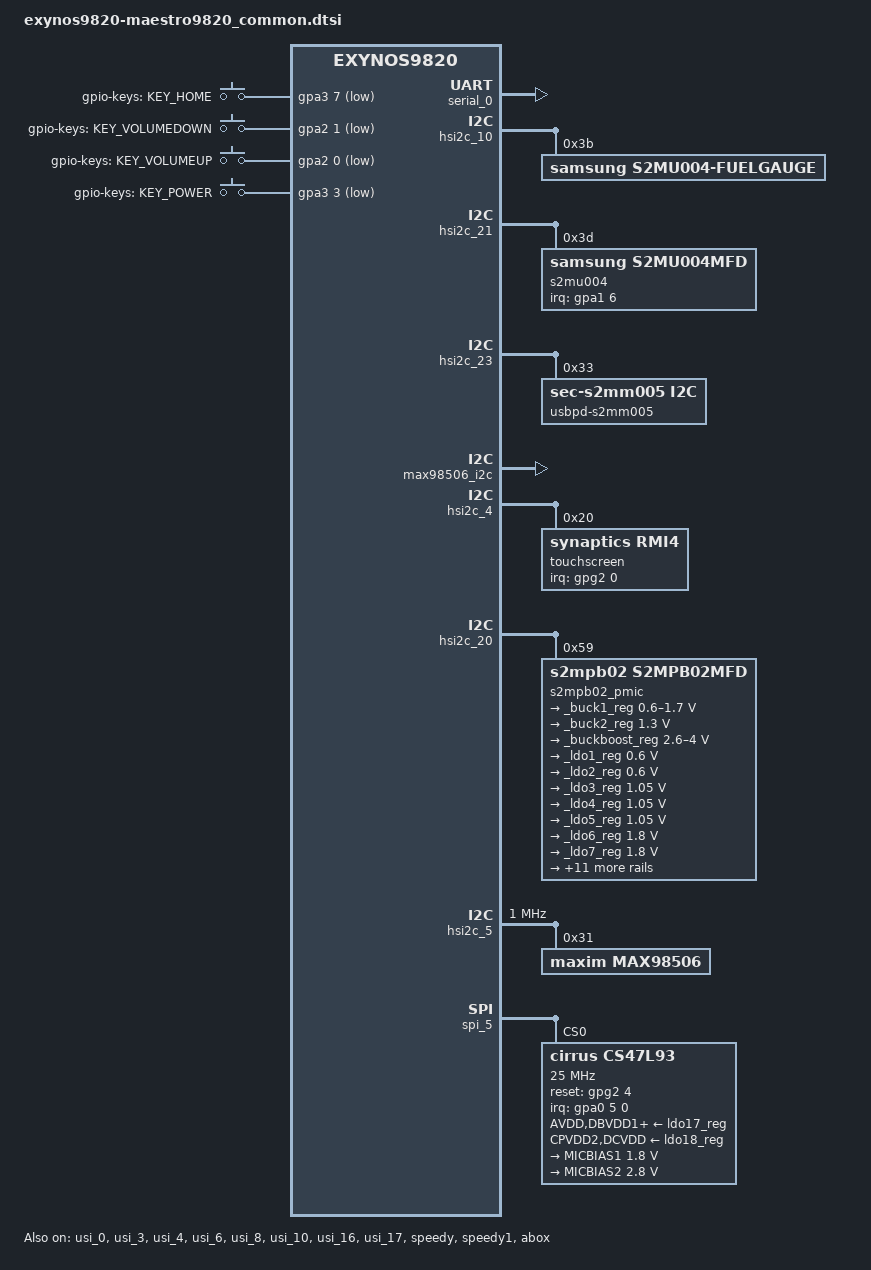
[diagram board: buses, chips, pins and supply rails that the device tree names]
/*
 * SAMSUNG EXYNOS9820 board device tree source
 *
 * Copyright (c) 2018 Samsung Electronics Co., Ltd.
 *		http://www.samsung.com
 *
 * This program is free software; you can redistribute it and/or modify
 * it under the terms of the GNU General Public License version 2 as
 * published by the Free Software Foundation.
*/

#include <dt-bindings/clock/exynos9820.h>
#include "exynos9820_battery_data.dtsi"

/ {
	compatible = "samsung,exynos9820", "samsung,MAESTRO9820";
	board_id = <0xF0>;
	board_rev = <0x0>;

	fragment@model {
		target-path = "/";
		__overlay__ {
			#address-cells = <2>;
			#size-cells = <1>;

			fixed-rate-clocks {
				oscclk {
					compatible = "samsung,exynos9820-oscclk";
					clock-frequency = <26000000>;
				};
			};

			gpio_keys {
				status = "okay";
				compatible = "gpio-keys";
				pinctrl-names = "default";
				pinctrl-0 = <&key_home &key_voldown &key_volup &key_power>;
				button@1 {
					label = "gpio-keys: KEY_HOME";
					linux,code = <172>;
					gpios = <&gpa3 7 0xf>;
					gpio-key,wakeup = <1>;
				};
				button@2 {
					label = "gpio-keys: KEY_VOLUMEDOWN";
					linux,code = <114>;
					gpios = <&gpa2 1 0xf>;
				};
				button@3 {
					label = "gpio-keys: KEY_VOLUMEUP";
					linux,code = <115>;
					gpios = <&gpa2 0 0xf>;
				};
				button@4 {
					label = "gpio-keys: KEY_POWER";
					linux,code = <116>;
					gpios = <&gpa3 3 0xf>;
					gpio-key,wakeup = <1>;
				};
			};

			exynos_rgt {
				compatible = "samsung,exynos-rgt";
			};

			dummy_audio_codec: audio_codec_dummy {
				compatible = "snd-soc-dummy";
				#sound-dai-cells = <0>;
			};

			dummy_audio_cpu: audio_cpu_dummy {
				compatible = "samsung,dummy-cpu";
				#sound-dai-cells = <0>;
			};

			sound {
				compatible = "samsung,exynos9820-madera";

				clock-names = "xclkout";
				clocks = <&clock OSC_AUD>;

				cirrus,sysclk = <1 4 98304000>;
				cirrus,dspclk = <8 4 147456000>;
				cirrus,fll1-refclk = <1 0 26000000 98304000>;

				cirrus,asyncclk = <2 5 90316800>;
				cirrus,fll2-refclk = <2 0 26000000 90316800>;

				samsung,routing = "HEADSETMIC", "MICBIAS1D",
					"IN1BL", "HEADSETMIC",
					"DMIC1", "MICBIAS1A",
					"IN3L", "DMIC1",
					"DMIC2", "MICBIAS1B",
					"IN4L", "DMIC2",
					"DMIC3", "MICBIAS1C",
					"IN2L", "DMIC3",
					"RECEIVER", "HPOUT4L",
					"RECEIVER", "HPOUT4R",
					"HEADPHONE", "HPOUT2L",
					"HEADPHONE", "HPOUT2R",
					"BLUETOOTH SPK", "ABOX UAIF3 Playback",
					"ABOX UAIF3 Capture", "BLUETOOTH MIC",
					"SPEAKER", "HiFi Playback",
					"HiFi Capture", "SPEAKER FB",
					"VTS Virtual Output", "VTS Virtual Output Mux";
				samsung,codec = <&abox &abox_uaif_0 &abox_uaif_1 &abox_uaif_2
					&abox_uaif_3 &abox_dsif &abox_rdma_0 &abox_rdma_1
					&abox_rdma_2 &abox_rdma_3 &abox_rdma_4 &abox_rdma_5
					&abox_rdma_6 &abox_rdma_7 &abox_rdma_8 &abox_rdma_9
					&abox_rdma_10 &abox_rdma_11 &abox_wdma_0 &abox_wdma_1
					&abox_wdma_2 &abox_wdma_3 &abox_wdma_4 &abox_wdma_5
					&abox_wdma_6 &abox_wdma_7>;
				samsung,prefix = "ABOX", "ABOX", "ABOX", "ABOX",
					"ABOX", "ABOX", "ABOX", "ABOX",
					"ABOX", "ABOX", "ABOX", "ABOX",
					"ABOX", "ABOX", "ABOX", "ABOX",
					"ABOX", "ABOX", "ABOX", "ABOX",
					"ABOX", "ABOX", "ABOX", "ABOX",
					"ABOX", "ABOX";
				samsung,aux = <&abox_effect>;

				rdma0 {
					cpu {
						sound-dai = <&abox_rdma_0>;
					};
					platform {
						sound-dai = <&abox_rdma_0>;
					};
					codec {
						sound-dai = <&dummy_audio_codec>;
					};
				};
				rdma1 {
					cpu {
						sound-dai = <&abox_rdma_1>;
					};
					platform {
						sound-dai = <&abox_rdma_1>;
					};
					codec {
						sound-dai = <&dummy_audio_codec>;
					};
				};
				rdma2 {
					cpu {
						sound-dai = <&abox_rdma_2>;
					};
					platform {
						sound-dai = <&abox_rdma_2>;
					};
					codec {
						sound-dai = <&dummy_audio_codec>;
					};
				};
				rdma3 {
					cpu {
						sound-dai = <&abox_rdma_3>;
					};
					platform {
						sound-dai = <&abox_rdma_3>;
					};
					codec {
						sound-dai = <&dummy_audio_codec>;
					};
				};
				rdma4 {
					cpu {
						sound-dai = <&abox_rdma_4>;
					};
					platform {
						sound-dai = <&abox_rdma_4>;
					};
					codec {
						sound-dai = <&dummy_audio_codec>;
					};
				};
				rdma5 {
					cpu {
						sound-dai = <&abox_rdma_5>;
					};
					platform {
						sound-dai = <&abox_rdma_5>;
					};
					codec {
						sound-dai = <&dummy_audio_codec>;
					};
				};
				rdma6 {
					cpu {
						sound-dai = <&abox_rdma_6>;
					};
					platform {
						sound-dai = <&abox_rdma_6>;
					};
					codec {
						sound-dai = <&dummy_audio_codec>;
					};
				};
				rdma7 {
					cpu {
						sound-dai = <&abox_rdma_7>;
					};
					platform {
						sound-dai = <&abox_rdma_7>;
					};
					codec {
						sound-dai = <&dummy_audio_codec>;
					};
				};
				rdma8 {
					cpu {
						sound-dai = <&abox_rdma_8>;
					};
					platform {
						sound-dai = <&abox_rdma_8>;
					};
					codec {
						sound-dai = <&dummy_audio_codec>;
					};
				};
				rdma9 {
					cpu {
						sound-dai = <&abox_rdma_9>;
					};
					platform {
						sound-dai = <&abox_rdma_9>;
					};
					codec {
						sound-dai = <&dummy_audio_codec>;
					};
				};
				rdma10 {
					cpu {
						sound-dai = <&abox_rdma_10>;
					};
					platform {
						sound-dai = <&abox_rdma_10>;
					};
					codec {
						sound-dai = <&dummy_audio_codec>;
					};
				};
				rdma11 {
					cpu {
						sound-dai = <&abox_rdma_11>;
					};
					platform {
						sound-dai = <&abox_rdma_11>;
					};
					codec {
						sound-dai = <&dummy_audio_codec>;
					};
				};
				wdma0 {
					cpu {
						sound-dai = <&abox_wdma_0>;
					};
					platform {
						sound-dai = <&abox_wdma_0>;
					};
					codec {
						sound-dai = <&dummy_audio_codec>;
					};
				};
				wdma1 {
					cpu {
						sound-dai = <&abox_wdma_1>;
					};
					platform {
						sound-dai = <&abox_wdma_1>;
					};
					codec {
						sound-dai = <&dummy_audio_codec>;
					};
				};
				wdma2 {
					cpu {
						sound-dai = <&abox_wdma_2>;
					};
					platform {
						sound-dai = <&abox_wdma_2>;
					};
					codec {
						sound-dai = <&dummy_audio_codec>;
					};
				};
				wdma3 {
					cpu {
						sound-dai = <&abox_wdma_3>;
					};
					platform {
						sound-dai = <&abox_wdma_3>;
					};
					codec {
						sound-dai = <&dummy_audio_codec>;
					};
				};
				wdma4 {
					cpu {
						sound-dai = <&abox_wdma_4>;
					};
					platform {
						sound-dai = <&abox_wdma_4>;
					};
					codec {
						sound-dai = <&dummy_audio_codec>;
					};
				};
				wdma5 {
					cpu {
						sound-dai = <&abox_wdma_5>;
					};
					platform {
						sound-dai = <&abox_wdma_5>;
					};
					codec {
						sound-dai = <&dummy_audio_codec>;
					};
				};
				wdma6 {
					cpu {
						sound-dai = <&abox_wdma_6>;
					};
					platform {
						sound-dai = <&abox_wdma_6>;
					};
					codec {
						sound-dai = <&dummy_audio_codec>;
					};
				};
				wdma7 {
					cpu {
						sound-dai = <&abox_wdma_7>;
					};
					platform {
						sound-dai = <&abox_wdma_7>;
					};
					codec {
						sound-dai = <&dummy_audio_codec>;
					};
				};
				/* VTS is disabled temporarily
				vts0 {
					cpu {
						sound-dai = <&vts 0>;
					};
					codec {
						sound-dai = <&dummy_audio_codec>;
					};
				};
				vts1 {
					cpu {
						sound-dai = <&vts 1>;
					};
					codec {
						sound-dai = <&dummy_audio_codec>;
					};
				};
				*/
				/* DP audio is disabled temporarily
				dp_audio {
					cpu {
						sound-dai = <&dummy_audio_cpu>;
					};
					codec {
						sound-dai = <&dummy_audio_codec>;
					};
				};
				*/
				uaif0 {
					format = "i2s";
					cpu {
						sound-dai = <&abox_uaif_0>;
					};
					codec {
						sound-dai = <&cs47l93 0>;
					};
				};
				uaif1 {
					format = "i2s";
					cpu {
						sound-dai = <&abox_uaif_1>;
					};
					codec {
						sound-dai = <&max98506 0>;
					};
				};
				uaif2 {
					format = "i2s";
					cpu {
						sound-dai = <&abox_uaif_2>;
					};
					codec {
						sound-dai = <&cs47l93 2>;
					};
				};
				uaif3 {
					format = "i2s";
					cpu {
						sound-dai = <&abox_uaif_3>;
					};
					codec {
						sound-dai = <&dummy_audio_codec>;
					};
				};
				dsif0 {
					format = "pdm";
					cpu {
						sound-dai = <&abox_dsif>;
					};
					codec {
						sound-dai = <&dummy_audio_codec>;
					};
				};
				sifs0 {
					cpu {
						sound-dai = <&abox 0>;
					};
					codec {
						sound-dai = <&dummy_audio_codec>;
					};
				};
				sifs1 {
					cpu {
						sound-dai = <&abox 1>;
					};
					codec {
						sound-dai = <&dummy_audio_codec>;
					};
				};
				sifs2 {
					cpu {
						sound-dai = <&abox 2>;
					};
					codec {
						sound-dai = <&dummy_audio_codec>;
					};
				};
				sifs3 {
					cpu {
						sound-dai = <&abox 3>;
					};
					codec {
						sound-dai = <&dummy_audio_codec>;
					};
				};
				sifs4 {
					cpu {
						sound-dai = <&abox 4>;
					};
					codec {
						sound-dai = <&dummy_audio_codec>;
					};
				};
				rsrc0 {
					cpu {
						sound-dai = <&abox 5>;
					};
					codec {
						sound-dai = <&dummy_audio_codec>;
					};
				};
				rsrc1 {
					cpu {
						sound-dai = <&abox 6>;
					};
					codec {
						sound-dai = <&dummy_audio_codec>;
					};
				};
				nsrc0 {
					cpu {
						sound-dai = <&abox 7>;
					};
					codec {
						sound-dai = <&dummy_audio_codec>;
					};
				};
				nsrc1 {
					cpu {
						sound-dai = <&abox 8>;
					};
					codec {
						sound-dai = <&dummy_audio_codec>;
					};
				};
				nsrc2 {
					cpu {
						sound-dai = <&abox 9>;
					};
					codec {
						sound-dai = <&dummy_audio_codec>;
					};
				};
				nsrc3 {
					cpu {
						sound-dai = <&abox 10>;
					};
					codec {
						sound-dai = <&dummy_audio_codec>;
					};
				};
				nsrc4 {
					cpu {
						sound-dai = <&abox 11>;
					};
					codec {
						sound-dai = <&dummy_audio_codec>;
					};
				};
				nsrc5 {
					cpu {
						sound-dai = <&abox 12>;
					};
					codec {
						sound-dai = <&dummy_audio_codec>;
					};
				};
				nsrc6 {
					cpu {
						sound-dai = <&abox 13>;
					};
					codec {
						sound-dai = <&dummy_audio_codec>;
					};
				};
				debug-trace@1 {
					cpu {
						sound-dai = <&cs47l93 6>;
					};
					codec {
						sound-dai = <&cs47l93 7>;
					};
				};
			};
		}; /* end of __overlay__ */
	}; /* end of fragment */
}; /* end of root */

&android {
	vbmeta {
		compatible = "android,vbmeta";
		parts = "vbmeta,boot,system,vendor";
	};
};
&vendor {
	fsmgr_flags = "wait,avb";
};

&usi_0 {
	usi_v2_mode = "i2c";
	status = "okay";
};

&usi_1 {
	/*	usi_v2_mode = "i2c" or "spi" or "uart"	*/
	status = "disabled";
};

&usi_2 {
	/*	usi_v2_mode = "i2c" or "spi" or "uart"	*/
	status = "disabled";
};

&usi_3 {
	usi_v2_mode = "i2c";
	status = "okay";
};

&usi_4 {
	usi_v2_mode = "spi";
	status = "okay";
};

&usi_5 {
	/*	usi_v2_mode = "i2c" or "spi" or "uart"	*/
	status = "disabled";
};

&usi_6 {
	usi_v2_mode = "spi";
	status = "okay";
};

&usi_7 {
	/*	usi_v2_mode = "i2c" or "spi" or "uart"	*/
	status = "disabled";
};

&usi_8 {
	usi_v2_mode = "i2c";
	status = "okay";
};

&usi_9 {
	usi_v2_mode = "i2c";
	status = "disabled";
};

&usi_10 {
	usi_v2_mode = "i2c";
	status = "okay";
};

&usi_11 {
	/*	usi_v2_mode = "i2c" or "spi" or "uart"	*/
	status = "disabled";
};

&usi_12 {
	/*	usi_v2_mode = "i2c" or "spi" or "uart"	*/
	status = "disabled";
};

&usi_13 {
	/*	usi_v2_mode = "i2c" or "spi" or "uart"	*/
	status = "disabled";
};

&usi_14 {
	/*	usi_v2_mode = "i2c" or "spi" or "uart"	*/
	status = "disabled";
};

&usi_15 {
	/*	usi_v2_mode = "i2c" or "spi" or "uart"	*/
	status = "disabled";
};

&usi_16 {
	usi_v2_mode = "i2c";
	status = "okay";
};

&usi_17 {
	usi_v2_mode = "i2c";
	status = "okay";
};

&usi_00_cmgp {
	/*	usi_v2_mode = "i2c" or "spi" or "uart"	*/
	status = "disabled";
};

&usi_01_cmgp {
	/*	usi_v2_mode = "i2c" or "spi" or "uart"	*/
	status = "disabled";
};

&usi_02_cmgp {
	/*	usi_v2_mode = "i2c" or "spi" or "uart"	*/
	status = "disabled";
};

&usi_03_cmgp {
	/*	usi_v2_mode = "i2c" or "spi" or "uart"	*/
	status = "disabled";
};

&serial_0 {
	status = "okay";
};

&pinctrl_0 {
	key_home: key-home {
		samsung,pins = "gpa3-7";
		samsung,pin-function = <0xf>;
		samsung,pin-pud = <0>;
		samsung,pin-drv = <0>;
	};

	key_voldown: key-voldown {
		samsung,pins = "gpa2-1";
		samsung,pin-function = <0xf>;
		samsung,pin-pud = <0>;
		samsung,pin-drv = <0>;
	};

	key_volup: key-volup {
		samsung,pins = "gpa2-0";
		samsung,pin-function = <0xf>;
		samsung,pin-pud = <0>;
		samsung,pin-drv = <0>;
	};

	key_power: key-power {
		samsung,pins = "gpa3-3";
		samsung,pin-function = <0xf>;
	};

	dwmmc2_cd_ext_irq: dwmmc2_cd_ext_irq {
		samsung,pins = "gpa0-0";
		samsung,pin-function = <0xf>;
		samsung,pin-pud = <3>;
		samsung,pin-drv = <4>;
	};

	m_pmic_irq: m-pmic-irq {
		samsung,pins = "gpa0-2";
		samsung,pin-pud = <3>;
		samsung,pin-drv = <3>;
	};

	s_pmic_irq: s-pmic-irq {
		samsung,pins = "gpa0-4";
		samsung,pin-pud = <3>;
		samsung,pin-drv = <3>;
	};

	sub_pmic_irq: sub-pmic-irq {
		samsung,pins = "gpa0-6";
		samsung,pin-function = <0>;
		samsung,pin-pud = <0>;
		samsung,pin-drv = <0>;
	};

	if_pmic_irq: if-pmic-irq {
		samsung,pins = "gpa1-6";
		samsung,pin-function = <0>;
		samsung,pin-pud = <0>;
		samsung,pin-drv = <0>;
	};

	fuel_irq: fuel-irq {
		samsung,pins = "gpa1-5";
		samsung,pin-function = <0>;
		samsung,pin-pud = <0>;
		samsung,pin-drv = <0>;
	};

	usbpd_irq: usbpd-irq {
		samsung,pins = "gpa3-2";
		samsung,pin-function = <0xf>;
		samsung,pin-pud = <0>;
		samsung,pin-drv = <0>;
	};
};

&hsi2c_10 {
	#address-cells = <1>;
	#size-cells = <0>;
	status = "okay";
	s2mu004-fuelgauge@3B {
		compatible = "samsung,s2mu004-fuelgauge";
		reg = <0x3B>;
		pinctrl-names = "default";
		pinctrl-0 = <&fuel_irq>;
		fuelgauge,fuel_int = <&gpa2 3 0>;
		fuelgauge,fuel_alert_soc = <1>;
		fuelgauge,capacity_max = <1000>;
		fuelgauge,capacity_max_margin = <70>;
		fuelgauge,capacity_min = <0>;
		fuelgauge,capacity_calculation_type = <28>;
		fuelgauge,type_str = "SDI";
		fuelgauge,model_type = <1>;
	};
};

&hsi2c_21 {
	#address-cells = <1>;
	#size-cells = <0>;
	status = "okay";
	s2mu004@3d {
		compatible = "samsung,s2mu004mfd";
		reg = <0x3d>;
		pinctrl-names = "default";
		pinctrl-0 = <&if_pmic_irq>;
		s2mu004,irq-gpio = <&gpa1 6 0>;
		s2mu004,wakeup;
	};

	muic {
		status = "okay";
		muic,uart_addr = "10430060.pinctrl";
		muic,uart_rxd = "gpp3-2";
		muic,uart_txd = "gpp3-3";
	};

	s2mu004-charger {
		status = "okay";
		battery,charger_name = "s2mu004-charger";
		battery,chg_gpio_en = <0>;
		battery,chg_polarity_en = <0>;
		battery,chg_gpio_status = <0>;
		battery,chg_polarity_status = <0>;
		battery,chg_float_voltage = <4350>;
		battery,chg_recharge_vcell = <4250>;
		battery,chg_full_vcell = <4300>;
		battery,full_check_type = <2>;
		battery,full_check_type_2nd = <2>;
		battery,input_current_limit = <
			500 450 500 1200 500 1200 1200 1000 1000 1000
			1000 500 500 1200 1000 500 450>;
		battery,fast_charging_current =	<
			500 450 500 1200 500 1200 1200 1000 1000 1000
			1000 500 500 1200 1000 500 450>;
		battery,full_check_current_1st = <
			300 0 300 300 300 300 300 300 300 300
			300 300 300 300 300 300 0>;
		battery,full_check_current_2nd = <
			100 0 100 100 100 100 100 100 100 100
			100 100 100 100 100 100 0>;
	};
};

&hsi2c_23 {
	#address-cells = <1>;
	#size-cells = <0>;
	status = "okay";
	usbpd-s2mm005@33 {
		compatible = "sec-s2mm005,i2c";
		reg = <0x33>;
		pinctrl-names = "default";
		pinctrl-0 = <&usbpd_irq>;
		interrupt-parent = <&gpa3>;
		usbpd,usbpd_int = <&gpa3 2 0>;
	};

	usbpd-manager {
		/* sink */
		pdic,max_power = <5000>;
		pdic,op_power = <2500>;
		pdic,max_voltage = <9000>;
		pdic,max_current = <2000>;
		pdic,min_current = <500>;

		pdic,giveback = <0>;
		pdic,usb_com_capable = <1>;
		pdic,no_usb_suspend = <1>;

		/* source */
		source,max_voltage = <5000>;
		source,min_voltage = <4000>;
		source,max_power = <2500>;

		/* sink cap */
		sink,capable_max_voltage = <9000>;
	};
};

&pinctrl_5 {
	attn_irq: attn-irq {
		samsung,pins = "gpg2-0";
		samsung,pin-function = <0xf>;
		samsung,pin-pud = <0>;
		samsung,pin-drv = <0>;
	};

	attn_input: attn-input {
		samsung,pins = "gpg2-0";
		samsung,pin-function = <0>;
		samsung,pin-pud = <1>;
	};
};

&speedy {
	#address-cells = <1>;
	#size-cells = <0>;
	status = "okay";
	s2mps19mfd@00 {
		compatible = "samsung,s2mps19mfd";
		acpm-ipc-channel = <2>;
		acpm-speedy-channel = <0>;
		i2c-speedy-address;
		s2mps19,wakeup = "enabled";
		s2mps19,irq-gpio = <&gpa0 2 0>;
		reg = <0x00>;
		interrupts = <1 0 0>;
		interrupt-parent = <&gpa0>;
		pinctrl-names = "default";
		pinctrl-0 = <&m_pmic_irq &smpl_warn>;
		gpios = <&gpp3 4 0>;
		smpl_warn_en = <0>; /* 1 : enable , 0 : disable */
		smpl_warn_dev2 = <0>;
		/* range of smpl_warn_vth */
		/* 0x00 : 2.1V, 0x20 : 2.3V, 0x40 : 2.5V, 0x60 : 2.7V 0x80 : 2.9V */
		/* 0xA0 : 3.1V, 0xC0 : 3.3V, 0xE0 : 3.5V */
		smpl_warn_vth = <0x80>;
		/* LowBat_Hys[4:3] 00(100mV), 01(200mV), 10(300mV), 11(400mV) */
		smpl_warn_hys = <0x00>;
		ocp_warn1_en = <1>; /* 1 : enable, 0 : disable */
		ocp_warn1_cnt = <0>; /* ocp warn reset timing control, 0 : 2 clock, 1 : 32 clock */
		ocp_warn1_dvs_mask = <0>; /* ocp warn mask when dvs, 0 : not masked, 1 : masked  */
		ocp_warn1_lv = <0x0>; /* step : -250mA */
		ocp_warn2_en = <0>; /* 1 : enable, 0 : disable */
		ocp_warn2_cnt = <0>; /* ocp warn reset timing control, 0 : 2 clock, 1 : 32 clock */
		ocp_warn2_dvs_mask = <0>; /* ocp warn mask when dvs, 0 : not masked, 1 : masked  */
		ocp_warn2_lv = <0x0>; /* step : -250mA */
		adc_mode = <1>; /* 0 : disable, 1 : current meter, 2 : power meter */
		adc_sync_mode = <2>; /* 1 : sync mode, 2 : async mode */
		/* RTC: wtsr/smpl */
		wtsr_en = "enabled"; /* enable */
		smpl_en = "enabled"; /* enable */
		wtsr_timer_val = <3>;	/* 1000ms */
		smpl_timer_val = <4>;	/* 500ms */
		sub_smpl_en = "enabled"; /* enable */
		check_jigon = <0>; /* do not check jigon */
		/* RTC: If it's first boot, reset rtc to 1/1/2017 12:00:00(Sun) */
		init_time,sec = <0>;
		init_time,min = <0>;
		init_time,hour = <12>;
		init_time,mday = <1>;
		init_time,mon = <0>;
		init_time,year = <117>;
		init_time,wday = <0>;

		regulators {
			buck1_reg: BUCK1M {
				regulator-name = "m_vdd_buck1";
				regulator-min-microvolt = <450000>;
				regulator-max-microvolt = <1100000>;
				regulator-always-on;
				regulator-ramp-delay = <6000>;
				regulator-initial-mode = <2>;
			};

			buck2_reg: BUCK2M {
				regulator-name = "m_vdd_buck2";
				regulator-min-microvolt = <450000>;
				regulator-max-microvolt = <1300000>;
				regulator-always-on;
				regulator-ramp-delay = <6000>;
				regulator-initial-mode = <2>;
			};

			buck3_reg: BUCK3M {
				regulator-name = "m_vdd_buck3";
				regulator-min-microvolt = <450000>;
				regulator-max-microvolt = <1300000>;
				regulator-always-on;
				regulator-ramp-delay = <6000>;
				regulator-initial-mode = <1>;
			};

			buck4_reg: BUCK4M {
				regulator-name = "m_vdd_buck4";
				regulator-min-microvolt = <450000>;
				regulator-max-microvolt = <1300000>;
				regulator-always-on;
				regulator-ramp-delay = <6000>;
				regulator-initial-mode = <1>;
			};

			buck5_reg: BUCK5M {
				regulator-name = "m_vdd_buck5";
				regulator-min-microvolt = <450000>;
				regulator-max-microvolt = <950000>;
				regulator-always-on;
				regulator-ramp-delay = <6000>;
				regulator-initial-mode = <2>;
			};

			buck6_reg: BUCK6M {
				regulator-name = "m_vdd_buck6";
				regulator-min-microvolt = <450000>;
				regulator-max-microvolt = <1100000>;
				regulator-always-on;
				regulator-ramp-delay = <6000>;
				regulator-initial-mode = <2>;
			};

			buck7_reg: BUCK7M {
				regulator-name = "m_vdd_buck7";
				regulator-min-microvolt = <450000>;
				regulator-max-microvolt = <1300000>;
				regulator-always-on;
				regulator-ramp-delay = <6000>;
				regulator-initial-mode = <2>;
			};

			buck8_reg: BUCK8M {
				regulator-name = "m_vdd_buck8";
				regulator-min-microvolt = <450000>;
				regulator-max-microvolt = <950000>;
				regulator-always-on;
				regulator-ramp-delay = <6000>;
				regulator-initial-mode = <2>;
			};

			buck9_reg: BUCK9M {
				regulator-name = "m_vdd_buck9";
				regulator-min-microvolt = <750000>;
				regulator-max-microvolt = <1150000>;
				regulator-always-on;
				regulator-ramp-delay = <6000>;
				regulator-initial-mode = <3>;
			};

			buck10_reg: BUCK10M {
				regulator-name = "m_vdd_buck10";
				regulator-min-microvolt = <900000>;
				regulator-max-microvolt = <1300000>;
				regulator-always-on;
				regulator-ramp-delay = <6000>;
				regulator-initial-mode = <3>;
			};

			buck11_reg: BUCK11M {
				regulator-name = "m_vdd_buck11";
				regulator-min-microvolt = <1100000>;
				regulator-max-microvolt = <1500000>;
				regulator-always-on;
				regulator-ramp-delay = <6000>;
				regulator-initial-mode = <3>;
			};

			buck12_reg: BUCK12M {
				regulator-name = "m_vdd_buck12";
				regulator-min-microvolt = <1700000>;
				regulator-max-microvolt = <2150000>;
				regulator-always-on;
				regulator-ramp-delay = <6000>;
				regulator-initial-mode = <3>;
			};

			ldo1_reg: LDO1M {
				regulator-name = "m_vdd_ldo1";
				regulator-min-microvolt = <700000>;
				regulator-max-microvolt = <950000>;
				regulator-always-on;
				regulator-ramp-delay = <12000>;
				regulator-initial-mode = <3>;
			};

			ldo2_reg: LDO2M {
				regulator-name = "vqmmc";
				regulator-min-microvolt = <1700000>;
				regulator-max-microvolt = <3300000>;
				regulator-ramp-delay = <12000>;
				regulator-initial-mode = <3>;
			};

			ldo3_reg: LDO3M {
				regulator-name = "m_vdd_ldo3";
				regulator-min-microvolt = <700000>;
				regulator-max-microvolt = <1100000>;
				regulator-always-on;
				regulator-ramp-delay = <12000>;
				regulator-initial-mode = <1>;
			};

			ldo4_reg: LDO4M {
				regulator-name = "m_vdd_ldo4";
				regulator-min-microvolt = <1600000>;
				regulator-max-microvolt = <1950000>;
				regulator-always-on;
				regulator-ramp-delay = <12000>;
				regulator-initial-mode = <1>;
			};

			ldo5_reg: LDO5M {
				regulator-name = "m_vdd_ldo5";
				regulator-min-microvolt = <450000>;
				regulator-max-microvolt = <1100000>;
				regulator-always-on;
				regulator-ramp-delay = <12000>;
				regulator-initial-mode = <1>;
			};

			ldo6_reg: LDO6M {
				regulator-name = "m_vdd_ldo6";
				regulator-min-microvolt = <450000>;
				regulator-max-microvolt = <950000>;
				regulator-always-on;
				regulator-ramp-delay = <12000>;
				regulator-initial-mode = <1>;
			};

			ldo7_reg: LDO7M {
				regulator-name = "m_vdd_ldo7";
				regulator-min-microvolt = <450000>;
				regulator-max-microvolt = <1100000>;
				regulator-always-on;
				regulator-ramp-delay = <12000>;
				regulator-initial-mode = <1>;
			};

			ldo8_reg: LDO8M {
				regulator-name = "m_vdd_ldo8";
				regulator-min-microvolt = <450000>;
				regulator-max-microvolt = <1300000>;
				regulator-always-on;
				regulator-ramp-delay = <12000>;
				regulator-initial-mode = <1>;
			};

			ldo9_reg: LDO9M {
				regulator-name = "m_vdd_ldo9";
				regulator-min-microvolt = <700000>;
				regulator-max-microvolt = <1300000>;
				regulator-always-on;
				regulator-ramp-delay = <12000>;
				regulator-initial-mode = <1>;
			};

			ldo10_reg: LDO10M {
				regulator-name = "m_vdd_ldo10";
				regulator-min-microvolt = <700000>;
				regulator-max-microvolt = <1100000>;
				regulator-boot-on;
				regulator-ramp-delay = <12000>;
				regulator-initial-mode = <3>;
			};

			ldo11_reg: LDO11M {
				regulator-name = "m_vdd_ldo11";
				regulator-min-microvolt = <1600000>;
				regulator-max-microvolt = <1950000>;
				regulator-boot-on;
				regulator-ramp-delay = <12000>;
				regulator-initial-mode = <3>;
			};

			ldo12_reg: LDO12M {
				regulator-name = "m_vdd_ldo12";
				regulator-min-microvolt = <1700000>;
				regulator-max-microvolt = <3350000>;
				regulator-boot-on;
				regulator-ramp-delay = <12000>;
				regulator-initial-mode = <3>;
			};

			ldo15_reg: LDO15M {
				regulator-name = "vmmc";
				regulator-min-microvolt = <2500000>;
				regulator-max-microvolt = <3300000>;
				regulator-ramp-delay = <12000>;
				regulator-initial-mode = <3>;
			};

			ldo16_reg: LDO16M {
				regulator-name = "m_vdd_ldo16";
				regulator-min-microvolt = <2500000>;
				regulator-max-microvolt = <3300000>;
				regulator-always-on;
				regulator-ramp-delay = <12000>;
				regulator-initial-mode = <3>;
			};

			ldo17_reg: LDO17M {
				regulator-name = "m_vdd_ldo17";
				regulator-min-microvolt = <1600000>;
				regulator-max-microvolt = <2200000>;
				regulator-always-on;
				regulator-ramp-delay = <12000>;
				regulator-initial-mode = <3>;
			};

			ldo18_reg: LDO18M {
				regulator-name = "m_vdd_ldo18";
				regulator-min-microvolt = <700000>;
				regulator-max-microvolt = <1200000>;
				regulator-ramp-delay = <12000>;
				regulator-initial-mode = <3>;
			};

			ldo19_reg: LDO19M {
				regulator-name = "m_vdd_ldo19";
				regulator-min-microvolt = <1600000>;
				regulator-max-microvolt = <2200000>;
				regulator-always-on;
				regulator-ramp-delay = <12000>;
				regulator-initial-mode = <3>;
			};

			ldo20_reg: LDO20M {
				regulator-name = "m_vdd_ldo20";
				regulator-min-microvolt = <2500000>;
				regulator-max-microvolt = <3300000>;
				regulator-always-on;
				regulator-ramp-delay = <12000>;
				regulator-initial-mode = <3>;
			};

			ldo21_reg: LDO21M {
				regulator-name = "m_vdd_ldo21";
				regulator-min-microvolt = <1600000>;
				regulator-max-microvolt = <2200000>;
				regulator-always-on;
				regulator-ramp-delay = <12000>;
				regulator-initial-mode = <3>;
			};

			ldo22_reg: LDO22M {
				regulator-name = "m_vdd_ldo22";
				regulator-min-microvolt = <1600000>;
				regulator-max-microvolt = <2200000>;
				regulator-always-on;
				regulator-ramp-delay = <12000>;
				regulator-initial-mode = <3>;
			};

			ldo23_reg: LDO23M {
				regulator-name = "VDDD_1.2V_FRONTSUB";
				regulator-min-microvolt = <1200000>;
				regulator-max-microvolt = <1200000>;
				regulator-ramp-delay = <12000>;
				regulator-initial-mode = <3>;
			};

			ldo24_reg: LDO24M {
				regulator-name = "VDDA_2.8V_FRONTSUB";
				regulator-min-microvolt = <2800000>;
				regulator-max-microvolt = <3800000>;
				regulator-ramp-delay = <12000>;
				regulator-initial-mode = <3>;
			};

			ldo25_reg: LDO25M {
				regulator-name = "VDDIO_1.8V_FRONTSUB";
				regulator-min-microvolt = <1800000>;
				regulator-max-microvolt = <2800000>;
				regulator-ramp-delay = <12000>;
				regulator-initial-mode = <3>;
			};

			ldo26_reg: LDO26M {
				regulator-name = "m_vdd_ldo26";
				regulator-min-microvolt = <1600000>;
				regulator-max-microvolt = <2200000>;
				regulator-always-on;
				regulator-ramp-delay = <12000>;
				regulator-initial-mode = <3>;
			};

			ldo27_reg: LDO27M {
				regulator-name = "m_vdd_ldo27";
				regulator-min-microvolt = <2500000>;
				regulator-max-microvolt = <3300000>;
				regulator-always-on;
				regulator-ramp-delay = <12000>;
				regulator-initial-mode = <3>;
			};

			ldo28_reg: LDO28M {
				regulator-name = "m_vdd_ldo28";
				regulator-min-microvolt = <1600000>;
				regulator-max-microvolt = <2200000>;
				regulator-always-on;
				regulator-ramp-delay = <12000>;
				regulator-initial-mode = <3>;
			};

			ldo29_reg: LDO29M {
				regulator-name = "m_vdd_ldo29";
				regulator-min-microvolt = <2500000>;
				regulator-max-microvolt = <3300000>;
				regulator-always-on;
				regulator-ramp-delay = <12000>;
				regulator-initial-mode = <3>;
			};
		};
	};
};

&speedy1 {
	#address-cells = <1>;
	#size-cells = <0>;
	status = "okay";
	s2mps20mfd@00 {
		compatible = "samsung,s2mps20mfd";
		acpm-ipc-channel = <2>;
		acpm-speedy-channel = <1>;
		i2c-speedy-address;
		s2mps20,wakeup = "enabled";
		s2mps20,irq-gpio = <&gpa0 4 0>;
		reg = <0x00>;
		interrupts = <1 0 0>;
		interrupt-parent = <&gpa0>;
		pinctrl-names = "default";
		pinctrl-0 = <&s_pmic_irq>;
		adc_mode = <1>; /* 0 : disable, 1 : current meter, 2 : power meter */
		adc_sync_mode = <2>; /* 1 : sync mode, 2 : async mode */
		ocp_warn3_en = <0>; /* 1 : enable, 0 : disable */
		ocp_warn3_cnt = <0>; /* ocp warn reset timing control, 0 : 2 clock, 1 : 32 clock */
		ocp_warn3_dvs_mask = <0>; /* ocp warn mask when dvs, 0 : not masked, 1 : masked  */
		ocp_warn3_lv = <0x0>; /* step : -250mA */

		regulators {
			s_buck1_reg: BUCK1S {
				regulator-name = "s_vdd_buck1";
				regulator-min-microvolt = <450000>;
				regulator-max-microvolt = <950000>;
				regulator-always-on;
				regulator-ramp-delay = <6000>;
				regulator-initial-mode = <2>;
			};

			s_buck2_reg: BUCK2S {
				regulator-name = "s_vdd_buck2";
				regulator-min-microvolt = <900000>;
				regulator-max-microvolt = <1300000>;
				regulator-always-on;
				regulator-ramp-delay = <6000>;
				regulator-initial-mode = <3>;
			};

			s_ldo1_reg: LDO1S {
				regulator-name = "s_vdd_ldo1";
				regulator-min-microvolt = <450000>;
				regulator-max-microvolt = <950000>;
				regulator-always-on;
				regulator-ramp-delay = <12000>;
				regulator-initial-mode = <1>;
			};

			s_ldo2_reg: LDO2S {
				regulator-name = "s_vdd_ldo2";
				regulator-min-microvolt = <1600000>;
				regulator-max-microvolt = <1950000>;
				regulator-always-on;
				regulator-ramp-delay = <12000>;
				regulator-initial-mode = <3>;
			};

			s_ldo7_reg: LDO7S {
				regulator-name = "s_vdd_ldo7";
				regulator-min-microvolt = <1600000>;
				regulator-max-microvolt = <1950000>;
				regulator-always-on;
				regulator-ramp-delay = <12000>;
				regulator-initial-mode = <3>;
			};

			s_ldo8_reg: LDO8S {
				regulator-name = "s_vdd_ldo8";
				regulator-min-microvolt = <700000>;
				regulator-max-microvolt = <1100000>;
				regulator-always-on;
				regulator-ramp-delay = <12000>;
				regulator-initial-mode = <3>;
			};

			s_ldo9_reg: LDO9S {
				regulator-name = "s_vdd_ldo9";
				regulator-min-microvolt = <700000>;
				regulator-max-microvolt = <1100000>;
				regulator-always-on;
				regulator-ramp-delay = <12000>;
				regulator-initial-mode = <3>;
			};

			s_ldo10_reg: LDO10S {
				regulator-name = "s_vdd_ldo10";
				regulator-min-microvolt = <1600000>;
				regulator-max-microvolt = <1950000>;
				regulator-always-on;
				regulator-ramp-delay = <12000>;
				regulator-initial-mode = <3>;
			};

			s_ldo11_reg: LDO11S {
				regulator-name = "s_vdd_ldo11";
				regulator-min-microvolt = <1600000>;
				regulator-max-microvolt = <1950000>;
				regulator-always-on;
				regulator-ramp-delay = <12000>;
				regulator-initial-mode = <3>;
			};

			s_ldo12_reg: LDO12S {
				regulator-name = "s_vdd_ldo12";
				regulator-min-microvolt = <1700000>;
				regulator-max-microvolt = <3350000>;
				regulator-always-on;
				regulator-ramp-delay = <12000>;
				regulator-initial-mode = <3>;
			};
		};
	};
};

&hsi2c_4 {
	status = "okay";
	#address-cells = <1>;
	#size-cells = <0>;
	touchscreen@20 {
		compatible = "synaptics,rmi4";
		reg = <0x20>;
		pinctrl-names = "on_state", "off_state";
		pinctrl-0 = <&attn_irq>;
		pinctrl-1 = <&attn_input>;
		synaptics,irq_gpio = <&gpg2 0 0>;
		synaptics,irq_type = <8200>;
		synaptics,max_coords = <1440 2560>;     /* x y */
		synaptics,num_lines = <29 16>;          /* rx tx */
		synaptics,regulator_dvdd = "VDDIO_1.8V_VT";
		synaptics,regulator_avdd = "S2MPB02_LDO18";
	};
};

&hsi2c_20 {
	#address-cells = <1>;
	#size-cells = <0>;
	status = "okay";
	s2mpb02_pmic@59 {
		compatible = "s2mpb02,s2mpb02mfd";
		reg = <0x59>;

		s2mpb02,wakeup;
		pinctrl-names = "default";
		pinctrl-0 = <&sub_pmic_irq>;

		regulators {
			_buck1_reg: s2mpb02-buck1 {
				regulator-name = "S2MPB02_BUCK1";
				regulator-min-microvolt = <600000>;
				regulator-max-microvolt = <1700000>;
				regulator-always-on;
				regulator-boot-on;
			};

			_buck2_reg: s2mpb02-buck2 {
				regulator-name = "S2MPB02_BUCK2";
				regulator-min-microvolt = <1300000>;
				regulator-max-microvolt = <1300000>;
				regulator-always-on;
				regulator-boot-on;
			};

			_buckboost_reg: s2mpb02-bb {
				regulator-name = "S2MPB02_BB";
				regulator-min-microvolt = <2600000>;
				regulator-max-microvolt = <4000000>;
				regulator-always-on;
				regulator-boot-on;
			};

			_ldo1_reg: s2mpb02-ldo1 {
				regulator-name = "S2MPB02_LDO1";
				regulator-min-microvolt = <600000>;
				regulator-max-microvolt = <600000>;
				regulator-always-on;
			};

			_ldo2_reg: s2mpb02-ldo2 {
				regulator-name = "S2MPB02_LDO2";
				regulator-min-microvolt = <600000>;
				regulator-max-microvolt = <600000>;
			};

			_ldo3_reg: s2mpb02-ldo3 {
				regulator-name = "VDDD_1.05V_SUB";
				regulator-min-microvolt = <1050000>;
				regulator-max-microvolt = <1050000>;
			};

			_ldo4_reg: s2mpb02-ldo4 {
				regulator-name = "VDDD_1.05V_WIDESUB";
				regulator-min-microvolt = <1050000>;
				regulator-max-microvolt = <1050000>;
			};

			_ldo5_reg: s2mpb02-ldo5 {
				regulator-name = "VDDD_1.05V_VT";
				regulator-min-microvolt = <1050000>;
				regulator-max-microvolt = <1050000>;
			};

			_ldo6_reg: s2mpb02-ldo6 {
				regulator-name = "VDDIO_1.8V_VT";
				regulator-min-microvolt = <1800000>;
				regulator-max-microvolt = <1800000>;
				regulator-always-on;
				regulator-boot-on;
			};

			_ldo7_reg: s2mpb02-ldo7 {
				regulator-name = "VDDIO_1.8V_SUB";
				regulator-min-microvolt = <1800000>;
				regulator-max-microvolt = <1800000>;
			};

			_ldo8_reg: s2mpb02-ldo8 {
				regulator-name = "VDDIO_1.8V_WIDESUB";
				regulator-min-microvolt = <1800000>;
				regulator-max-microvolt = <1800000>;
			};

			_ldo9_reg: s2mpb02-ldo9 {
				regulator-name = "S2MPB02_LDO9";
				regulator-min-microvolt = <1800000>;
				regulator-max-microvolt = <1800000>;
				regulator-always-on;
				regulator-boot-on;
			};

			_ldo10_reg: s2mpb02-ldo10 {
				regulator-name = "VDDD_1.8V_OIS";
				regulator-min-microvolt = <1800000>;
				regulator-max-microvolt = <1800000>;
				regulator-always-on;
				regulator-boot-on;
			};

			_ldo11_reg: s2mpb02-ldo11 {
				regulator-name = "VDDA_2.8V_SUB";
				regulator-min-microvolt = <2800000>;
				regulator-max-microvolt = <2800000>;
				regulator-always-on;
				regulator-boot-on;
			};

			_ldo12_reg: s2mpb02-ldo12 {
				regulator-name = "VDDAF_2.8V_SUB";
				regulator-min-microvolt = <2800000>;
				regulator-max-microvolt = <2800000>;
			};

			_ldo13_reg: s2mpb02-ldo13 {
				regulator-name = "VDDA_2.95V_VT";
				regulator-min-microvolt = <2950000>;
				regulator-max-microvolt = <2950000>;
			};

			_ldo14_reg: s2mpb02-ldo14 {
				regulator-name = "VDDAF_COMMON_CAM";
				regulator-min-microvolt = <3300000>;
				regulator-max-microvolt = <3300000>;
			};

			_ldo15_reg: s2mpb02-ldo15 {
				regulator-name = "VDDA_2.8V_WIDESUB";
				regulator-min-microvolt = <2800000>;
				regulator-max-microvolt = <2800000>;
			};

			_ldo16_reg: s2mpb02-ldo16 {
				regulator-name = "VDDAF_2.8V_VT";
				regulator-min-microvolt = <2800000>;
				regulator-max-microvolt = <2800000>;
			};

			_ldo17_reg: s2mpb02-ldo17 {
				regulator-name = "S2MPB02_LDO17";
				regulator-min-microvolt = <600000>;
				regulator-max-microvolt = <3375000>;
			};

			_ldo18_reg: s2mpb02-ldo18 {
				regulator-name = "S2MPB02_LDO18";
				regulator-min-microvolt = <3300000>;
				regulator-max-microvolt = <3300000>;
				regulator-always-on;
				regulator-boot-on;
			};
		};
	};
};

&abox_gic {
	status = "okay";
};

&abox {
	status = "okay";
};

&pinctrl_0 {
	max98506_ctrl: max98506-ctl {
		samsung,pins ="gpa2-2";
		samsung,pin-function = <0>;
		samsung,pin-pud = <0>;
		samsung,pin-con-pdn =<2>;
		samsung,pin-pud-pdn = <0>;
	};
};

&pinctrl_5 {
	max98506_i2c: max98506-i2c {
		samsung,pins = "gpp0-2", "gpp0-3";
		samsung,pin-pud = <0>;
		status = "okay";
	};
};

&hsi2c_5 {
	#address-cells = <1>;
	#size-cells = <0>;
	status = "okay";
	clock-frequency = <1000000>;
	max98506: max98506@31 {
		compatible = "maxim,max98506";
		#sound-dai-cells = <1>;
		reg = <0x31>;
		maxim,spk-gain = <0x05>;
		maxim,sysclk = <12288000>;
		maxim,vmon_slot = <0>;
		maxim,platform_info = <2 0x0 0x0 0x0 0x0 42>;
		maxim,boost_step = <
			0x0F 0x0F 0x0F 0x0F
			0x0F 0x0F 0x0F 0x0F
			0x0F 0x0F 0x0F 0x0F
			0x0F 0x0F 0x02 0x00
			>;
		maxim,adc_threshold = <7>;
		maxim,registers-of-amp =
			<0x1F 0x00>,
			<0x21 0xC0>,
			<0x2D 0x14>,
			<0x2F 0x00>;
	};
};

&pinctrl_5 {
	codec_reset: codec-reset {
		samsung,pins ="gpg1-0";
		samsung,pin-con-pdn =<3>;
		samsung,pin-pud-pdn = <1>;
	};
};

&spi_5 {
	#address-cells = <1>;
	#size-cells = <0>;
	status = "okay";
	pinctrl-names = "default";
	pinctrl-0 = <&spi5_bus &spi5_cs_func>;

	cs47l93: cs47l93@0 {
		compatible = "cirrus,cs47l93";
		reg = <0x0>;

		spi-max-frequency = <25000000>;

		interrupts = <5 0 0>;
		interrupt-controller;
		#interrupt-cells = <2>;
		interrupt-parent = <&gpa0>;
		gpio-controller;
		#gpio-cells = <2>;
		#sound-dai-cells = <1>;

		AVDD-supply = <&ldo17_reg>;
		DBVDD1-supply = <&ldo17_reg>;
		CPVDD1-supply = <&ldo17_reg>;
		CPVDD2-supply = <&ldo18_reg>;
		DCVDD-supply = <&ldo18_reg>;

		reset-gpios = <&gpg2 4 0>;

		cirrus,dmic-ref = <0 1 1 1>;
		cirrus,inmode = < /* 0: diff 1: single 2: dmic */
			1 1 2 2 /* IN1 */
			2 2 2 2 /* IN2 */
		>;
		cirrus,outmono = <0 0 0 1 0 0>;
		cirrus,gpsw = <1 0>;

		pinctrl-names = "default";
		pinctrl-0 = <&codec_reset &cs47l93_defaults>;

		cs47l93_defaults: cs47l93-gpio-defaults {
			aif1 {
				groups = "aif1";
				function = "aif1";
				bias-bus-hold;
			};

			aif2 {
				groups = "aif2";
				function = "aif2";
				bias-bus-hold;
			};

			aif3 {
				groups = "aif3";
				function = "aif3";
				bias-bus-hold;
			};
		};


		MICBIAS1 {
			regulator-min-microvolt = <1800000>;
			regulator-max-microvolt = <1800000>;
			cirrus,ext-cap = <1>;
		};
		MICBIAS1A {
			regulator-active-discharge = <1>;
		};
		MICBIAS1B {
			regulator-active-discharge = <1>;
		};
		MICBIAS1C {
			regulator-active-discharge = <1>;
		};
		MICBIAS1D {
			regulator-active-discharge = <1>;
		};
		MICBIAS2 {
			regulator-min-microvolt = <2800000>;
			regulator-max-microvolt = <2800000>;
			cirrus,ext-cap = <1>;
		};
		MICBIAS2A {
			regulator-active-discharge = <1>;
		};

		cirrus,accdet {
			#address-cells = <1>;
			#size-cells = <0>;

			acc@1 {
				reg = <1>;

				cirrus,micd-bias-start-time = <0x1>;
				cirrus,micd-rate = <7>;
				cirrus,micd-detect-debounce-ms = <300>;
				cirrus,micd-clamp-mode = <0x8>;
				cirrus,jd-use-jd2;

				cirrus,init-delay-ms = <30>;
				cirrus,micd-dbtime = <0x1>;
				cirrus,micd-timeout-ms = <1000>;
				cirrus,micd-force-micbias;
				cirrus,hpdet-short-circuit-imp = <3>;
				cirrus,micd-pol-gpios = <&cs47l93 4 0>;
				cirrus,micd-ranges = <
					116 226
					173 582
					321 115
					752 114
					1257 217
				>;
				cirrus,micd-software-compare;
				cirrus,micd-open-circuit-declare = <1>;
				cirrus,jd-wake-time = <5000>;

				cirrus,moisture-pin = <7>;
				cirrus,moisture-imp = <2000>;
				cirrus,moisture-debounce = <4>;

				cirrus,micd-configs = <
					0 1 3 0 1
				>;
			};
		};

		controller-data {
			samsung,spi-feedback-delay = <1>;
			samsung,spi-chip-select-mode = <0>;
		};
	};
};
